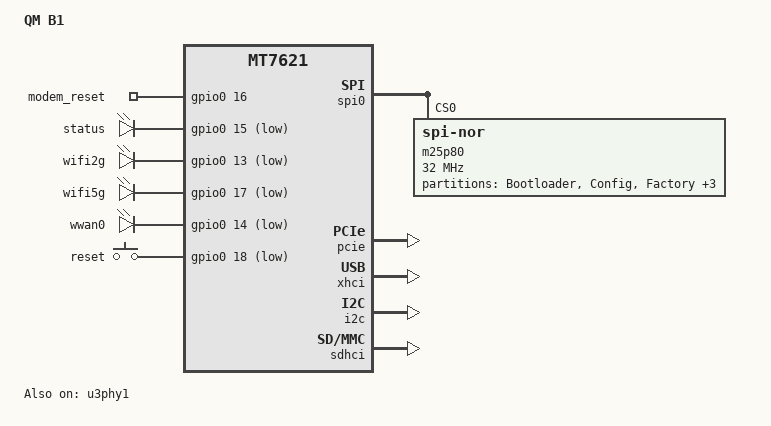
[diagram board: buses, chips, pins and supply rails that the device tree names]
/dts-v1/;

#include "mt7621.dtsi"
#include <dt-bindings/input/input.h>
#include "mt7621-raeth-gmac2.dtsi"
#include "mt7621-pinctrl-default-gpio.dtsi"

/ {
	compatible = "mediatek,mt7621-soc";
	model = "QM B1";

   chosen {
        bootargs = "console=ttyS0,115200";
          };
   
    gpio-export {
		compatible = "gpio-export";
		#size-cells = <0>;

		modem_reset {
			gpio-export,name = "modem_reset";
			gpio-export,output = <1>;
			gpios = <&gpio0 16 GPIO_ACTIVE_HIGH>;
		};
	};
  
 leds {
        compatible = "gpio-leds";

      status {
			label = "status";
			gpios = <&gpio0 15 GPIO_ACTIVE_LOW>;
		};
		
      wifi2g {
			label = "wifi2g";
			gpios = <&gpio0 13 GPIO_ACTIVE_LOW>;
					};

	   wifi5g {
			label = "wifi5g";
			gpios = <&gpio0 17 GPIO_ACTIVE_LOW>;
				 	};
		
	   wwan0 {
			label = "wwan0";
			gpios = <&gpio0 14 GPIO_ACTIVE_LOW>;
					};
  
	};   
    
	gpio-keys-polled {
		compatible = "gpio-keys-polled";
		#address-cells = <1>;
		#size-cells = <0>;
		poll-interval = <20>;

		reset {
			label = "reset";
			gpios = <&gpio0 18 GPIO_ACTIVE_LOW>;
			linux,code = <KEY_RESTART>;
		};
	};
};
  
&spi0 {
	status = "okay";

	m25p80@0 {
		#address-cells = <1>;
		#size-cells = <1>;
		compatible = "jedec,spi-nor";
		reg = <0>;
		spi-max-frequency = <32000000>;
		m25p,fast-read;

		partition@0 {
			label = "Bootloader";
			reg = <0x00000 0x30000>; /* 192K */
		};

		partition@30000 {
			label = "Config";
			reg = <0x30000 0x10000>; /* 64K */
		};

		partition@40000 {
			label = "Factory";
			reg = <0x40000 0x10000>; /* 64K */
		};

		partition@50000 {
			label = "firmware";
			reg = <0x50000 0xf70000>;
		};

		partition@f80000 {
			label = "Storage";
			reg = <0xfc0000 0x40000>; /* 256K */
		};

		partition@all {
			label = "ALL";
			reg = <0x0 0x1000000>;
		};
	};
};

&pcie {
	status = "okay";
};

&xhci {
	status = "okay";
};

&u3phy1 {
	status = "okay";
};

&i2c {
	status = "okay";
};

&sdhci {
	status = "okay";
};
